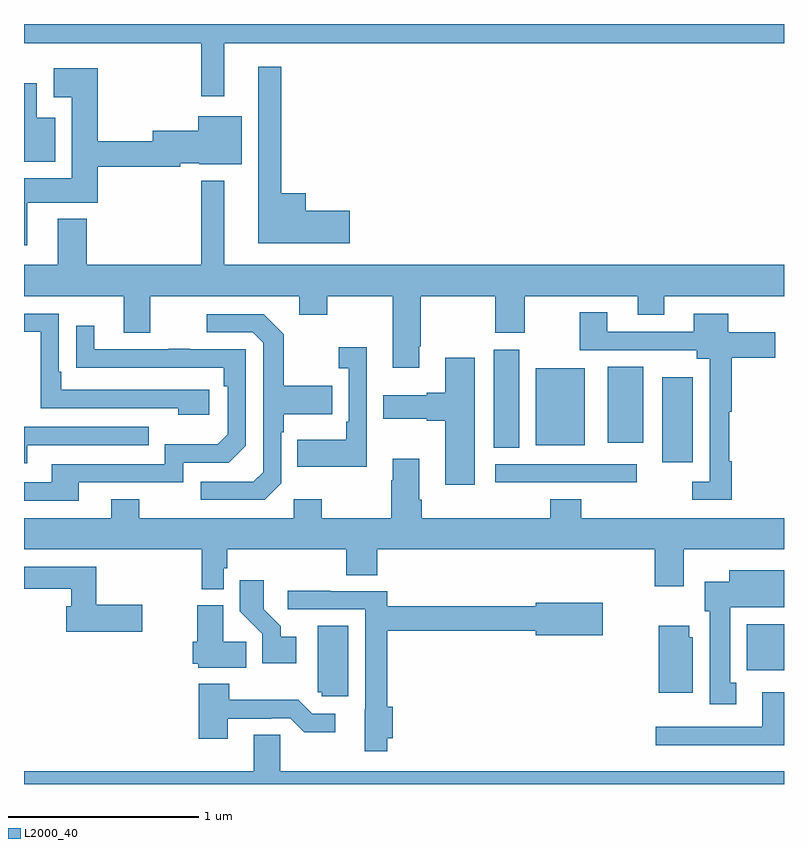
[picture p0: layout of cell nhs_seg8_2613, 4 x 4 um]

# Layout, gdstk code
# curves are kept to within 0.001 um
import gdstk
lib = gdstk.Library(unit=1e-6, precision=1e-09)
def R(c, l, rs):  # rectangles x0, y0, x1, y1
    for r in rs: c.add(gdstk.rectangle(r[:2], r[2:], *l))
def P(c, l, *ps):  # polygons
    for p in ps: c.add(gdstk.Polygon(p, *l))
L2000_40 = (2000, 40)

nhs_seg8_2613 = lib.new_cell('nhs_seg8_2613')
R(nhs_seg8_2613, L2000_40, [(278.804,1146.5,279,1146.742), (277.479,1147.488,278.224,1147.584), (278.36,1147.593,278.521,1148.041), (277.472,1147.669,277.606,1148.185), (277.694,1147.682,277.951,1148.089), (278.072,1147.697,278.26,1148.095)])
P(nhs_seg8_2613, L2000_40, [(276.055,1149.8),(279,1149.8),(279,1149.9),(275,1149.9),(275,1149.8),(275.934,1149.8),(275.934,1149.519),(276.055,1149.519)],
  [(276.715,1148.918),(276.484,1148.918),(276.484,1149.01),(276.355,1149.01),(276.355,1149.676),(276.233,1149.676),(276.233,1148.747),(276.715,1148.747)],
  [(275.017,1148.96),(275.387,1148.96),(275.387,1149.148),(275.822,1149.148),(275.822,1149.167),(275.922,1149.167),(275.922,1149.161),(276.145,1149.161),(276.145,1149.415),(275.918,1149.415),(275.918,1149.337),(275.678,1149.337),(275.678,1149.284),(275.387,1149.284),(275.387,1149.667),(275.157,1149.667),(275.157,1149.515),(275.252,1149.515),(275.252,1149.088),(275,1149.088),(275,1148.736),(275.017,1148.736)],
  [(275.164,1149.406),(275.068,1149.406),(275.068,1149.589),(275,1149.589),(275,1149.176),(275.164,1149.176)],
  [(276.055,1149.076),(275.934,1149.076),(275.934,1148.632),(275.33,1148.632),(275.33,1148.875),(275.177,1148.875),(275.177,1148.632),(275,1148.632),(275,1148.468),(275.525,1148.468),(275.525,1148.274),(275.665,1148.274),(275.665,1148.468),(276.449,1148.468),(276.449,1148.369),(276.597,1148.369),(276.597,1148.468),(276.941,1148.468),(276.941,1148.091),(277.081,1148.091),(277.081,1148.203),(277.089,1148.203),(277.089,1148.468),(277.48,1148.468),(277.48,1148.274),(277.635,1148.274),(277.635,1148.468),(278.231,1148.468),(278.231,1148.369),(278.371,1148.369),(278.371,1148.468),(279,1148.468),(279,1148.632),(276.055,1148.632)],
  [(278.726,1147.598),(278.711,1147.598),(278.711,1147.86),(278.726,1147.86),(278.726,1148.144),(278.953,1148.144),(278.953,1148.278),(278.707,1148.278),(278.707,1148.374),(278.525,1148.374),(278.525,1148.28),(278.071,1148.28),(278.071,1148.383),(277.924,1148.383),(277.924,1148.184),(278.54,1148.184),(278.54,1148.138),(278.61,1148.138),(278.61,1147.491),(278.517,1147.491),(278.517,1147.395),(278.726,1147.395)],
  [(275.974,1147.974),(275.197,1147.974),(275.197,1148.071),(275.184,1148.071),(275.184,1148.376),(275,1148.376),(275,1148.28),(275.088,1148.28),(275.088,1147.878),(275.813,1147.878),(275.813,1147.844),(275.974,1147.844)],
  [(276.354,1147.482),(276.354,1147.751),(276.367,1147.751),(276.367,1147.847),(276.623,1147.847),(276.623,1147.995),(276.367,1147.995),(276.367,1148.267),(276.261,1148.373),(275.961,1148.373),(275.961,1148.277),(276.204,1148.277),(276.258,1148.223),(276.258,1147.542),(276.207,1147.491),(275.931,1147.491),(275.931,1147.395),(276.267,1147.395)],
  [(275.287,1147.488),(275.838,1147.488),(275.838,1147.59),(276.078,1147.59),(276.168,1147.68),(276.168,1148.187),(275.873,1148.187),(275.873,1148.192),(275.761,1148.192),(275.761,1148.187),(275.371,1148.187),(275.371,1148.311),(275.275,1148.311),(275.275,1148.092),(276.052,1148.091),(276.052,1147.994),(276.072,1147.994),(276.072,1147.74),(276.019,1147.687),(275.742,1147.687),(275.742,1147.584),(275.147,1147.584),(275.147,1147.488),(275,1147.488),(275,1147.392),(275.287,1147.392)],
  [(276.804,1148.2),(276.657,1148.2),(276.657,1148.087),(276.708,1148.087),(276.708,1147.807),(276.696,1147.807),(276.696,1147.711),(276.439,1147.711),(276.439,1147.571),(276.804,1147.571)],
  [(277.372,1148.143),(277.217,1148.143),(277.217,1147.958),(277.121,1147.958),(277.121,1147.945),(276.891,1147.945),(276.891,1147.823),(277.121,1147.823),(277.121,1147.811),(277.217,1147.811),(277.217,1147.476),(277.372,1147.476)],
  [(275.017,1147.683),(275.657,1147.683),(275.657,1147.779),(275,1147.779),(275,1147.589),(275.017,1147.589)],
  [(276.051,1147.035),(276.071,1147.035),(276.071,1147.136),(276.695,1147.136),(276.695,1147),(276.86,1147),(276.86,1147.136),(278.321,1147.136),(278.321,1146.942),(278.473,1146.942),(278.473,1147.136),(279,1147.136),(279,1147.3),(277.934,1147.3),(277.934,1147.399),(277.769,1147.399),(277.769,1147.3),(277.094,1147.3),(277.094,1147.396),(277.081,1147.396),(277.081,1147.612),(276.941,1147.612),(276.941,1147.499),(276.934,1147.499),(276.934,1147.3),(276.567,1147.3),(276.567,1147.399),(276.42,1147.399),(276.42,1147.3),(275.607,1147.3),(275.607,1147.399),(275.459,1147.399),(275.459,1147.3),(275,1147.3),(275,1147.136),(275.935,1147.136),(275.935,1146.926),(276.051,1146.926)],
  [(275.623,1146.843),(275.381,1146.843),(275.381,1147.044),(275,1147.044),(275,1146.928),(275.249,1146.928),(275.249,1146.835),(275.222,1146.835),(275.222,1146.701),(275.623,1146.701)],
  [(278.749,1146.434),(278.716,1146.434),(278.716,1146.83),(279,1146.83),(279,1147.024),(278.711,1147.024),(278.711,1146.964),(278.582,1146.964),(278.582,1146.81),(278.609,1146.81),(278.609,1146.321),(278.749,1146.321)],
  [(276.433,1146.676),(276.352,1146.676),(276.352,1146.731),(276.262,1146.821),(276.262,1146.973),(276.136,1146.973),(276.136,1146.81),(276.255,1146.691),(276.255,1146.536),(276.433,1146.536)],
  [(276.911,1146.14),(276.941,1146.14),(276.941,1146.306),(276.911,1146.306),(276.911,1146.706),(277.694,1146.706),(277.694,1146.683),(278.047,1146.683),(278.047,1146.853),(277.694,1146.853),(277.694,1146.835),(276.911,1146.835),(276.911,1146.915),(276.611,1146.915),(276.611,1146.918),(276.387,1146.918),(276.387,1146.819),(276.795,1146.819),(276.795,1146.294),(276.794,1146.294),(276.794,1146.072),(276.911,1146.072)],
  [(276.17,1146.65),(276.049,1146.65),(276.049,1146.841),(275.912,1146.841),(275.912,1146.648),(275.888,1146.648),(275.888,1146.534),(275.916,1146.534),(275.916,1146.512),(276.17,1146.512)],
  [(276.706,1146.733),(276.545,1146.733),(276.545,1146.384),(276.567,1146.384),(276.567,1146.363),(276.706,1146.363)],
  [(278.521,1146.672),(278.5,1146.672),(278.5,1146.733),(278.342,1146.733),(278.342,1146.38),(278.521,1146.38)],
  [(276.073,1146.243),(276.302,1146.243),(276.302,1146.246),(276.402,1146.246),(276.475,1146.173),(276.637,1146.173),(276.637,1146.27),(276.516,1146.27),(276.443,1146.343),(276.081,1146.343),(276.081,1146.427),(275.921,1146.427),(275.921,1146.138),(276.073,1146.138)],
  [(279,1146.382),(278.885,1146.382),(278.885,1146.201),(278.325,1146.201),(278.325,1146.104),(279,1146.104)],
  [(279,1145.968),(276.348,1145.968),(276.348,1146.158),(276.209,1146.158),(276.209,1145.968),(275,1145.968),(275,1145.9),(279,1145.9)])

lib.write_gds('nhs_seg8_2613.gds')
